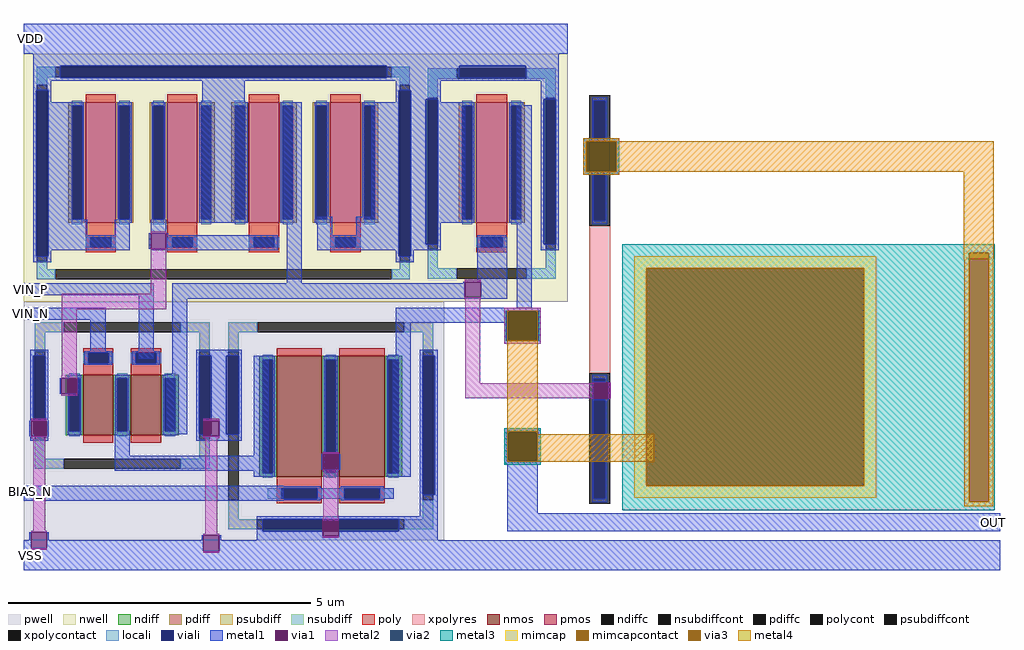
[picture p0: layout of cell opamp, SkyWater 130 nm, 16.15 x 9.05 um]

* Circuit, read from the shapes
.subckt opamp VDD VSS VIN_P VIN_N OUT BIAS_N
XM1 sky130_fd_pr__nfet_01v8_Z8NWMJ_0/D0 VIN_N sky130_fd_pr__pfet_01v8_PB76X2_1/D VSS sky130_fd_pr__nfet_01v8 w=1 l=0.5
XM2 sky130_fd_pr__pfet_01v8_RB64JY_0/G VIN_P sky130_fd_pr__nfet_01v8_Z8NWMJ_0/D0 VSS sky130_fd_pr__nfet_01v8 w=1 l=0.5
XM3 VSS BIAS_N sky130_fd_pr__nfet_01v8_Z8NWMJ_0/D0 VSS sky130_fd_pr__nfet_01v8 w=2 l=0.75
XM4 OUT BIAS_N VSS VSS sky130_fd_pr__nfet_01v8 w=2 l=0.75
XM5 VDD VDD VDD VDD sky130_fd_pr__pfet_01v8 w=2 l=0.5 m=2
XM6 VDD sky130_fd_pr__pfet_01v8_PB76X2_1/D sky130_fd_pr__pfet_01v8_PB76X2_1/D VDD sky130_fd_pr__pfet_01v8 w=2 l=0.5
XM7 sky130_fd_pr__pfet_01v8_RB64JY_0/G sky130_fd_pr__pfet_01v8_PB76X2_1/D VDD VDD sky130_fd_pr__pfet_01v8 w=2 l=0.5
XM8 OUT sky130_fd_pr__pfet_01v8_RB64JY_0/G VDD VDD sky130_fd_pr__pfet_01v8 w=2 l=0.52
XC9 OUT sky130_fd_pr__cap_mim_m3_1_7B8MMQ_0/C2 sky130_fd_pr__cap_mim_m3_1 w=4 l=4
XR10 sky130_fd_pr__cap_mim_m3_1_7B8MMQ_0/C2 sky130_fd_pr__pfet_01v8_RB64JY_0/G VSS sky130_fd_pr__res_xhigh_po w=0.35 l=2.44
.ends

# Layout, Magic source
magic
tech sky130A
magscale 1 2
<< nwell >>
rect -260 -60 1540 760
<< pwell >>
rect -260 -100 1130 -60
rect -260 -850 380 -650
<< nsubdiff >>
rect -217 683 -157 717
rect 957 683 1017 717
rect -217 657 -183 683
rect -217 47 -183 73
rect 983 657 1017 683
rect 983 47 1017 73
rect -217 13 -157 47
rect 957 13 1017 47
<< nsubdiffcont >>
rect -157 683 957 717
rect -217 73 -183 657
rect 983 73 1017 657
rect -157 13 957 47
<< locali >>
rect -217 683 -157 717
rect 957 683 1017 717
rect -217 657 -183 683
rect 983 657 1017 683
rect -217 47 -183 73
rect 983 47 1017 73
rect -217 13 -157 47
rect 957 13 1017 47
<< viali >>
rect -140 717 940 720
rect -140 683 940 717
rect -140 680 940 683
rect 1180 680 1400 720
rect -220 90 -217 640
rect -217 90 -183 640
rect -183 90 -180 640
rect 980 90 983 640
rect 983 90 1017 640
rect 1017 90 1020 640
rect 1070 130 1110 610
rect 1460 130 1500 610
rect -230 -500 -190 -240
rect 320 -500 360 -240
rect 410 -500 450 -240
rect 1060 -700 1100 -240
rect 530 -820 980 -780
<< metal1 >>
rect -260 760 1540 860
rect -230 720 1510 760
rect -230 680 -140 720
rect 940 680 1180 720
rect 1400 680 1510 720
rect -230 670 1510 680
rect -230 640 -170 670
rect -230 90 -220 640
rect -180 600 -170 640
rect 330 600 470 670
rect 970 640 1120 670
rect 970 600 980 640
rect -180 210 -100 600
rect -180 160 -50 210
rect 40 160 90 210
rect 160 166 210 210
rect 320 200 480 600
rect 600 200 660 600
rect 890 220 980 600
rect -180 110 90 160
rect 153 114 159 166
rect 211 160 217 166
rect 211 114 580 160
rect 160 110 580 114
rect -180 90 -170 110
rect -230 70 -170 90
rect 610 0 660 200
rect 710 160 760 220
rect 840 160 980 220
rect 710 110 980 160
rect 970 90 980 110
rect 1020 610 1120 640
rect 1020 130 1070 610
rect 1110 600 1120 610
rect 1450 610 1510 670
rect 1110 200 1200 600
rect 1110 130 1120 200
rect 1020 110 1120 130
rect 1020 90 1030 110
rect 970 70 1030 90
rect 1240 6 1340 150
rect 1193 0 1199 6
rect -260 -40 170 0
rect -260 -120 10 -80
rect -240 -240 -180 -220
rect -40 -230 10 -120
rect -240 -454 -230 -240
rect -190 -454 -180 -240
rect 120 -250 170 -40
rect 230 -46 1199 0
rect 1251 -46 1340 6
rect 230 -50 1340 -46
rect 230 -300 280 -50
rect 1370 -80 1420 590
rect 1450 130 1460 610
rect 1500 130 1510 610
rect 1590 470 1710 480
rect 1590 370 1600 470
rect 1700 370 1710 470
rect 1590 360 1710 370
rect 1450 110 1510 130
rect 970 -90 1450 -80
rect 970 -130 1340 -90
rect -142 -366 -136 -314
rect -84 -366 -78 -314
rect -242 -506 -236 -454
rect -184 -506 -178 -454
rect -240 -520 -180 -506
rect 40 -570 90 -490
rect 210 -500 280 -300
rect 310 -240 460 -220
rect 970 -240 1020 -130
rect 1330 -190 1340 -130
rect 1440 -190 1450 -90
rect 1330 -200 1450 -190
rect 310 -500 320 -240
rect 360 -454 410 -240
rect 386 -500 410 -454
rect 450 -500 460 -240
rect 310 -506 334 -500
rect 386 -506 460 -500
rect 310 -520 460 -506
rect 500 -570 550 -240
rect 40 -620 550 -570
rect 723 -616 729 -564
rect 781 -616 787 -564
rect 500 -640 550 -620
rect 960 -640 1020 -240
rect 1050 -240 1110 -220
rect -260 -720 600 -670
rect 1050 -700 1060 -240
rect 1100 -700 1110 -240
rect 1624 -329 1676 -323
rect 1624 -387 1676 -381
rect 1330 -490 1450 -480
rect 1330 -590 1340 -490
rect 1440 -590 1450 -490
rect 1330 -600 1450 -590
rect 1050 -770 1110 -700
rect 510 -780 1110 -770
rect 510 -820 530 -780
rect 980 -820 1110 -780
rect 1340 -760 1440 -600
rect 1340 -820 2970 -760
rect -242 -850 -236 -824
rect -260 -876 -236 -850
rect -184 -850 -178 -824
rect 328 -850 334 -834
rect -184 -876 334 -850
rect -260 -886 334 -876
rect 386 -850 392 -834
rect 510 -836 729 -820
rect 781 -836 1110 -820
rect 510 -850 1110 -836
rect 386 -886 2970 -850
rect -260 -950 2970 -886
<< via1 >>
rect 159 114 211 166
rect 1199 -46 1251 6
rect 1600 370 1700 470
rect -136 -366 -84 -314
rect -236 -500 -230 -454
rect -230 -500 -190 -454
rect -190 -500 -184 -454
rect -236 -506 -184 -500
rect 1340 -190 1440 -90
rect 334 -500 360 -454
rect 360 -500 386 -454
rect 334 -506 386 -500
rect 729 -616 781 -564
rect 1624 -381 1676 -329
rect 1340 -590 1440 -490
rect 729 -820 781 -784
rect -236 -876 -184 -824
rect 334 -886 386 -834
rect 729 -836 781 -820
<< metal2 >>
rect 1590 470 1710 480
rect 1590 370 1600 470
rect 1700 370 1710 470
rect 1590 360 1710 370
rect 159 166 211 172
rect 159 108 211 114
rect 160 -35 210 108
rect -135 -85 210 -35
rect 1199 6 1251 12
rect 1199 -52 1251 -46
rect -135 -308 -85 -85
rect -136 -314 -84 -308
rect -136 -372 -84 -366
rect 1200 -330 1250 -52
rect 1330 -90 1450 -80
rect 1330 -190 1340 -90
rect 1440 -190 1450 -90
rect 1330 -200 1450 -190
rect 1618 -330 1624 -329
rect 1200 -380 1624 -330
rect 1618 -381 1624 -380
rect 1676 -381 1682 -329
rect -236 -454 -184 -448
rect -236 -512 -184 -506
rect 334 -454 386 -448
rect 334 -512 386 -506
rect 1330 -490 1450 -480
rect -230 -818 -190 -512
rect -236 -824 -184 -818
rect 340 -828 380 -512
rect 729 -564 781 -558
rect 1330 -590 1340 -490
rect 1440 -590 1450 -490
rect 1330 -600 1450 -590
rect 729 -622 781 -616
rect 730 -778 780 -622
rect 729 -784 781 -778
rect -236 -882 -184 -876
rect 334 -834 386 -828
rect 729 -842 781 -836
rect 334 -892 386 -886
<< via2 >>
rect 1600 370 1700 470
rect 1345 -185 1435 -95
rect 1345 -585 1435 -495
<< metal3 >>
rect 1590 470 1710 480
rect 1590 370 1600 470
rect 1700 370 1710 470
rect 1590 360 1710 370
rect 1340 -91 1440 -90
rect 1335 -189 1341 -91
rect 1439 -189 1445 -91
rect 1340 -190 1440 -189
rect 1330 -491 1450 -480
rect 1330 -589 1341 -491
rect 1439 -589 1450 -491
rect 1330 -600 1450 -589
<< via3 >>
rect 1600 370 1700 470
rect 1341 -95 1439 -91
rect 1341 -185 1345 -95
rect 1345 -185 1435 -95
rect 1435 -185 1439 -95
rect 1341 -189 1439 -185
rect 1341 -495 1439 -491
rect 1341 -585 1345 -495
rect 1345 -585 1435 -495
rect 1435 -585 1439 -495
rect 1341 -589 1439 -585
<< metal4 >>
rect 1590 470 1710 480
rect 1590 370 1600 470
rect 1700 370 2950 470
rect 1590 360 1710 370
rect 2850 80 2950 370
rect 1340 -91 1440 -90
rect 1340 -189 1341 -91
rect 1439 -189 1440 -91
rect 1340 -491 1440 -189
rect 1340 -589 1341 -491
rect 1439 -500 1440 -491
rect 1439 -589 1825 -500
rect 1340 -590 1825 -589
use sky130_fd_pr__cap_mim_m3_1_7B8MMQ  sky130_fd_pr__cap_mim_m3_1_7B8MMQ_0
transform 1 0 2336 0 1 -310
box -616 -440 616 440
use sky130_fd_pr__nfet_01v8_Z5KAHF  sky130_fd_pr__nfet_01v8_Z5KAHF_0
transform 1 0 65 0 1 -371
box -325 -279 325 279
use sky130_fd_pr__nfet_01v8_Z8NWMJ  sky130_fd_pr__nfet_01v8_Z8NWMJ_0
transform 1 0 755 0 1 -471
box -375 -379 375 379
use sky130_fd_pr__pfet_01v8_PB76X2  sky130_fd_pr__pfet_01v8_PB76X2_0
transform 1 0 -6 0 1 364
box -144 -264 144 298
use sky130_fd_pr__pfet_01v8_PB76X2  sky130_fd_pr__pfet_01v8_PB76X2_1
transform 1 0 264 0 1 364
box -144 -264 144 298
use sky130_fd_pr__pfet_01v8_PB76X2  sky130_fd_pr__pfet_01v8_PB76X2_2
transform 1 0 534 0 1 364
box -144 -264 144 298
use sky130_fd_pr__pfet_01v8_PB76X2  sky130_fd_pr__pfet_01v8_PB76X2_3
transform 1 0 804 0 1 364
box -144 -264 144 298
use sky130_fd_pr__pfet_01v8_RB64JY  sky130_fd_pr__pfet_01v8_RB64JY_0
transform 1 0 1288 0 1 364
box -248 -384 248 384
use sky130_fd_pr__res_xhigh_po_0p35_DZ4CQ6  sky130_fd_pr__res_xhigh_po_0p35_DZ4CQ6_0
transform 1 0 1645 0 1 -54
box -35 -676 35 676
<< labels >>
flabel metal1 -260 790 -220 830 0 FreeSans 240 0 0 0 VDD
port 1 nsew
flabel metal1 -260 -920 -220 -880 0 FreeSans 240 0 0 0 VSS
port 2 nsew
flabel metal1 -260 -40 -220 0 0 FreeSans 240 0 0 0 VIN_P
port 3 nsew
flabel metal1 -260 -120 -220 -80 0 FreeSans 240 0 0 0 VIN_N
port 4 nsew
flabel metal1 2930 -810 2970 -770 0 FreeSans 240 0 0 0 OUT
port 5 nsew
flabel metal1 -260 -710 -220 -670 0 FreeSans 240 0 0 0 BIAS_N
port 6 nsew
<< end >>

# cell sky130_fd_pr__cap_mim_m3_1_7B8MMQ: kit device sky130_fd_pr__cap_mim_m3_1, w 4 l 4 val 35.04 carea 2.00 cperi 0.19 class capacitor nx 1 ny 1 dummy 0 square 0 lmin 2.00 wmin 2.00 lmax 30.0 wmax 30.0 dc 0 bconnect 1 tconnect 1 ccov 100 stack 1 doports 1

# cell sky130_fd_pr__nfet_01v8_Z5KAHF: kit device sky130_fd_pr__nfet_01v8, w 1 l 0.5 m 1 nf 2 diffcov 100 polycov 100 guard 1 glc 1 grc 1 gtc 1 gbc 1 tbcov 100 rlcov 100 topc 1 botc 0 poverlap 0 doverlap 1 lmin 0.15 wmin 0.42 class mosfet compatible {sky130_fd_pr__nfet_01v8 sky130_fd_pr__nfet_01v8_lvt sky130_fd_bs_flash__special_sonosfet_star sky130_fd_pr__nfet_g5v0d10v5 sky130_fd_pr__nfet_05v0_nvt sky130_fd_pr__nfet_03v3_nvt} full_metal 1 conn_gates 0 viasrc 100 viadrn 100 viagate 100 viagb 0 viagr 0 viagl 0 viagt 0 doports 1

# cell sky130_fd_pr__nfet_01v8_Z8NWMJ: kit device sky130_fd_pr__nfet_01v8, w 2 l 0.75 m 1 nf 2 diffcov 100 polycov 100 guard 1 glc 1 grc 1 gtc 1 gbc 1 tbcov 100 rlcov 100 topc 0 botc 1 poverlap 0 doverlap 1 lmin 0.15 wmin 0.42 class mosfet compatible {sky130_fd_pr__nfet_01v8 sky130_fd_pr__nfet_01v8_lvt sky130_fd_bs_flash__special_sonosfet_star sky130_fd_pr__nfet_g5v0d10v5 sky130_fd_pr__nfet_05v0_nvt sky130_fd_pr__nfet_03v3_nvt} full_metal 1 conn_gates 1 viasrc 100 viadrn 100 viagate 100 viagb 0 viagr 0 viagl 0 viagt 0 doports 1

# cell sky130_fd_pr__pfet_01v8_PB76X2: kit device sky130_fd_pr__pfet_01v8, w 2 l 0.5 m 1 nf 1 diffcov 100 polycov 100 guard 0 glc 1 grc 1 gtc 1 gbc 1 tbcov 100 rlcov 100 topc 0 botc 1 poverlap 0 doverlap 1 lmin 0.15 wmin 0.42 class mosfet compatible {sky130_fd_pr__pfet_01v8 sky130_fd_pr__pfet_01v8_lvt sky130_fd_pr__pfet_01v8_hvt sky130_fd_pr__pfet_g5v0d10v5} full_metal 1 conn_gates 0 viasrc 100 viadrn 100 viagate 100 viagb 0 viagr 0 viagl 0 viagt 0 doports 1

# cell sky130_fd_pr__pfet_01v8_RB64JY: kit device sky130_fd_pr__pfet_01v8, w 2 l 0.515 m 1 nf 1 diffcov 100 polycov 100 guard 1 glc 1 grc 1 gtc 1 gbc 1 tbcov 100 rlcov 100 topc 0 botc 1 poverlap 0 doverlap 1 lmin 0.15 wmin 0.42 class mosfet compatible {sky130_fd_pr__pfet_01v8 sky130_fd_pr__pfet_01v8_lvt sky130_fd_pr__pfet_01v8_hvt sky130_fd_pr__pfet_g5v0d10v5} full_metal 1 conn_gates 0 viasrc 100 viadrn 100 viagate 100 viagb 0 viagr 0 viagl 0 viagt 0 doports 1

# cell sky130_fd_pr__res_xhigh_po_0p35_DZ4CQ6: kit device sky130_fd_pr__res_xhigh_po_0p35, w 0.350 l 2.6 m 1 nx 1 wmin 0.350 lmin 0.50 class resistor rho 2000 val 15.932k dummy 0 dw 0.0 term 188.2 sterm 0.0 caplen 0 wmax 0.350 guard 0 glc 1 grc 1 gtc 1 gbc 1 compatible {sky130_fd_pr__res_xhigh_po_0p35 sky130_fd_pr__res_xhigh_po_0p69 sky130_fd_pr__res_xhigh_po_1p41 sky130_fd_pr__res_xhigh_po_2p85 sky130_fd_pr__res_xhigh_po_5p73} snake 0 full_metal 1 n_guard 0 hv_guard 0 vias 1 viagb 0 viagt 0 viagl 0 viagr 0 doports 1
